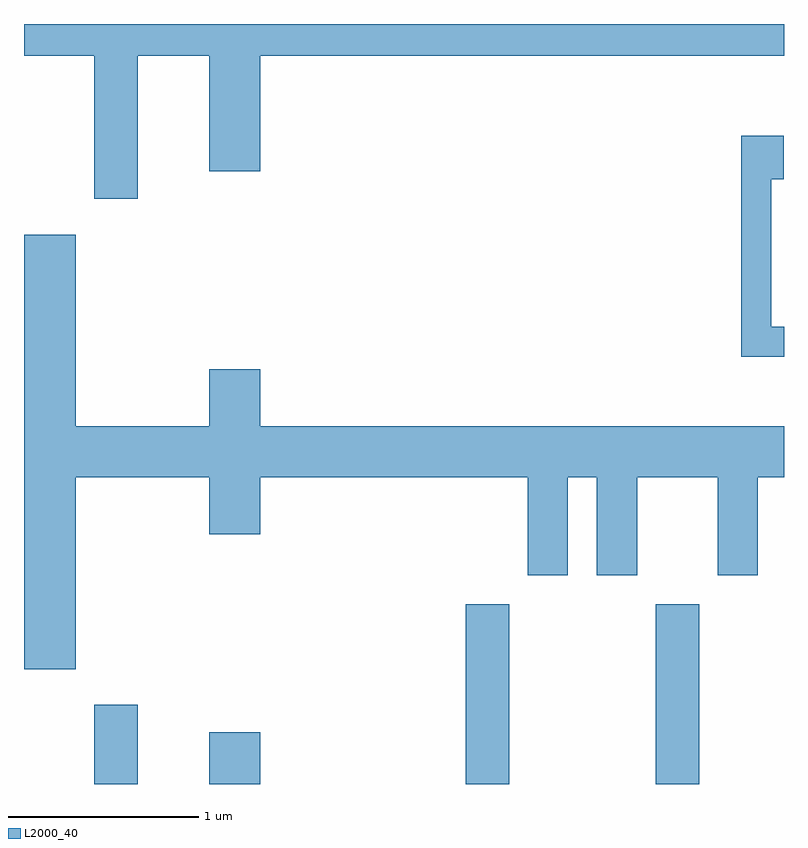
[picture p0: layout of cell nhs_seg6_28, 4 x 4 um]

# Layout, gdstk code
import gdstk
lib = gdstk.Library(unit=1e-6, precision=1e-09)
def R(c, l, rs):  # rectangles x0, y0, x1, y1
    for r in rs: c.add(gdstk.rectangle(r[:2], r[2:], *l))
def P(c, l, *ps):  # polygons
    for p in ps: c.add(gdstk.Polygon(p, *l))
L2000_40 = (2000, 40)

nhs_seg6_28 = lib.new_cell('nhs_seg6_28')
R(nhs_seg6_28, L2000_40, [(185.981,1586.162,186.209,1586.579), (186.586,1586.162,186.854,1586.434), (187.936,1586.162,188.164,1587.109), (188.936,1586.162,189.164,1587.109)])
P(nhs_seg6_28, L2000_40, [(186.209,1589.996),(186.586,1589.996),(186.586,1589.386),(186.854,1589.386),(186.854,1589.996),(189.611,1589.996),(189.611,1590.162),(185.611,1590.162),(185.611,1589.996),(185.981,1589.996),(185.981,1589.241),(186.209,1589.241)],
  [(189.611,1588.569),(189.544,1588.569),(189.544,1589.346),(189.609,1589.346),(189.609,1589.574),(189.386,1589.574),(189.386,1588.411),(189.611,1588.411)],
  [(185.884,1587.776),(186.586,1587.776),(186.586,1587.476),(186.854,1587.476),(186.854,1587.776),(188.261,1587.776),(188.261,1587.261),(188.474,1587.261),(188.474,1587.776),(188.626,1587.776),(188.626,1587.261),(188.839,1587.261),(188.839,1587.776),(189.261,1587.776),(189.261,1587.261),(189.474,1587.261),(189.474,1587.776),(189.611,1587.776),(189.611,1588.044),(186.854,1588.044),(186.854,1588.344),(186.586,1588.344),(186.586,1588.044),(185.884,1588.044),(185.884,1589.054),(185.611,1589.054),(185.611,1586.766),(185.884,1586.766)])

lib.write_gds('nhs_seg6_28.gds')
